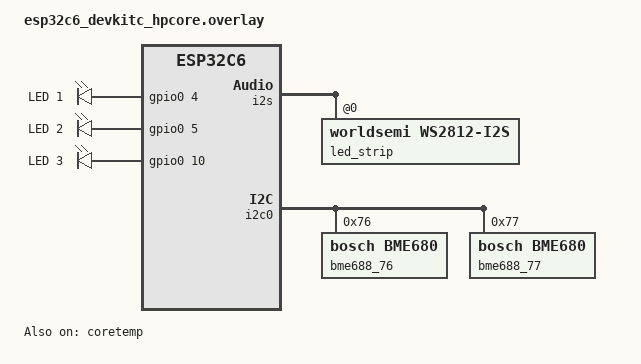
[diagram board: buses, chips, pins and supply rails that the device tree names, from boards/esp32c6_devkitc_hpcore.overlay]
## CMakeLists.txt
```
# SPDX-License-Identifier: Apache-2.0

cmake_minimum_required(VERSION 3.20.0)

# Wi-Fi credentials live in wifi.conf (git-ignored), see wifi.conf.example
if(EXISTS ${CMAKE_CURRENT_LIST_DIR}/wifi.conf)
  list(APPEND EXTRA_CONF_FILE ${CMAKE_CURRENT_LIST_DIR}/wifi.conf)
endif()

find_package(Zephyr REQUIRED HINTS $ENV{ZEPHYR_BASE})
project(web_app)

target_sources(app PRIVATE
  src/main.c
  src/wifi.c
  src/lan_scan.c
  src/sensors.c
  src/bme688.c
  src/nodes.c
  src/mqtt_pub.c
  src/ota.c
  src/bl_update.c
  src/web_api.c
)

# The ARP cache API (net_arp_foreach) is internal to the Ethernet L2
target_include_directories(app PRIVATE ${ZEPHYR_BASE}/subsys/net/l2/ethernet)

# Iterable section holding the HTTP resources of hub_http_service
zephyr_linker_sources(SECTIONS sections-rom.ld)
zephyr_linker_section(NAME http_resource_desc_hub_http_service
                      KVMA RAM_REGION GROUP RODATA_REGION)

# Public key that bl_update.c checks staged bootloaders against, taken from
# the key that signs the firmware (the private key never enters the image)
set(SIGNING_KEY ${CMAKE_CURRENT_LIST_DIR}/keys/hub-signing-key.pem)
set(PUBKEY_DER ${ZEPHYR_BINARY_DIR}/hub-signing-key.pub.der)
execute_process(
  COMMAND ${PYTHON_EXECUTABLE} ${ZEPHYR_MCUBOOT_MODULE_DIR}/scripts/imgtool.py
          getpub -k ${SIGNING_KEY} -e raw -o ${PUBKEY_DER}
  COMMAND_ERROR_IS_FATAL ANY
)
set_property(DIRECTORY APPEND PROPERTY CMAKE_CONFIGURE_DEPENDS ${SIGNING_KEY})
generate_inc_file_for_target(app ${PUBKEY_DER}
  ${ZEPHYR_BINARY_DIR}/include/generated/bl_pubkey.inc)
# MCUboot's image header and TLV definitions (bootutil/image.h)
target_link_libraries(app PRIVATE MCUBOOT_BOOTUTIL)

# Web page is gzipped at build time and served from flash
generate_inc_file_for_target(
  app
  src/static_web_resources/index.html
  ${ZEPHYR_BINARY_DIR}/include/generated/index.html.gz.inc
  --gzip
)
```

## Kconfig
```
mainmenu "Home Hub web app"

menu "Home Hub"

config APP_HTTP_PORT
	int "HTTP server port"
	default 80

config APP_SCAN_INTERVAL_MIN
	int "Automatic LAN scan interval (minutes)"
	default 10

config APP_MAX_DEVICES
	int "Maximum number of LAN devices remembered"
	default 64

config APP_MQTT_BROKER
	string "MQTT broker for the live web page"
	default "broker.hivemq.com"
	help
	  Public broker by default: anyone who knows the topic can read and
	  publish. Only sensor values are sent (see src/mqtt_pub.c).

config APP_MQTT_BROKER_PORT
	int "MQTT broker port (plain TCP)"
	default 1883

config APP_MQTT_TOPIC_PREFIX
	string "MQTT topic prefix"
	default "bbzorba/home-hub/v1"
	help
	  Must match the topic in the website's live page.

endmenu

source "Kconfig.zephyr"
```

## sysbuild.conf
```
# MCUboot as the second-stage bootloader (see BOOTLOADER.md):
# signed images, swap with automatic rollback, USB serial recovery.
SB_CONFIG_BOOTLOADER_MCUBOOT=y
SB_CONFIG_MCUBOOT_MODE_SWAP_USING_MOVE=y

# Only images signed with this key are accepted, over USB and over the air.
# The key is not in git: create it once with
#   imgtool keygen -k applications/web_app/keys/hub-signing-key.pem -t ecdsa-p256
# and back it up. Without it, no update can be installed.
SB_CONFIG_BOOT_SIGNATURE_TYPE_ECDSA_P256=y
SB_CONFIG_BOOT_SIGNATURE_KEY_FILE="${APP_DIR}/keys/hub-signing-key.pem"
```

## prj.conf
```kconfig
# --- System ---
# Extra heap on top of the Wi-Fi driver's 40 KB: it ran out when several
# browser tabs reconnected at once
CONFIG_HEAP_MEM_POOL_SIZE=32768
CONFIG_MAIN_STACK_SIZE=4096
# 4 KB: ota.c runs the bootloader check (ECDSA verify) in the work queue
CONFIG_SYSTEM_WORKQUEUE_STACK_SIZE=4096
CONFIG_LOG=y
CONFIG_ENTROPY_GENERATOR=y
# Last-resort recovery when Wi-Fi stays down (see wifi.c)
CONFIG_REBOOT=y
# CPU load on the dashboard (busy vs idle time)
CONFIG_THREAD_RUNTIME_STATS=y
CONFIG_ZVFS_OPEN_MAX=24
CONFIG_ZVFS_POLL_MAX=24

# --- Wi-Fi + IPv4 ---
CONFIG_WIFI=y
CONFIG_NETWORKING=y
CONFIG_NET_IPV4=y
CONFIG_NET_IPV6=n
CONFIG_NET_DHCPV4=y
CONFIG_NET_TCP=y
CONFIG_NET_UDP=y
CONFIG_NET_SOCKETS=y
CONFIG_NET_MGMT_EVENT_QUEUE_SIZE=16
CONFIG_ESP32_WIFI_STA_RECONNECT=y
CONFIG_NET_HOSTNAME_ENABLE=y
CONFIG_NET_HOSTNAME="home-hub"
CONFIG_NET_LOG=y

# Credentials come from wifi.conf (CONFIG_WIFI_CREDENTIALS_STATIC_SSID/_PASSWORD)
CONFIG_WIFI_CREDENTIALS=y
CONFIG_WIFI_CREDENTIALS_STATIC=y

# Raises L4 connected/disconnected events (associated + IPv4 address)
CONFIG_NET_CONNECTION_MANAGER=y

# Reverse DNS (device names); the server address comes from DHCP
CONFIG_DNS_RESOLVER=y
CONFIG_DNS_RESOLVER_MAX_NAME_LEN=64
# The HTTP server and the DNS resolver's socket service each need one
CONFIG_ZVFS_EVENTFD_MAX=4

# LAN scan sends one probe per host in batches; the ARP table has to hold
# a whole batch of pending requests plus the entries of live HTTP clients.
CONFIG_NET_ARP_TABLE_SIZE=32
CONFIG_NET_PKT_TX_COUNT=32
CONFIG_NET_PKT_RX_COUNT=16
CONFIG_NET_BUF_TX_COUNT=64
CONFIG_NET_BUF_RX_COUNT=64
CONFIG_NET_MAX_CONTEXTS=16
CONFIG_NET_MAX_CONN=16
CONFIG_NET_TCP_TIME_WAIT_DELAY=0

# --- HTTP server + JSON ---
CONFIG_HTTP_SERVER=y
CONFIG_HTTP_SERVER_MAX_CLIENTS=4
CONFIG_HTTP_SERVER_STACK_SIZE=4096
CONFIG_HTTP_SERVER_CLIENT_BUFFER_SIZE=1024
CONFIG_JSON_LIBRARY=y
CONFIG_JSON_LIBRARY_FP_SUPPORT=y

# --- MQTT (live page on bbzorba.github.io, see src/mqtt_pub.c) ---
CONFIG_MQTT_LIB=y
CONFIG_MQTT_KEEPALIVE=60

# --- OTA updates: MCUboot + mcumgr over UDP port 1337 (see BOOTLOADER.md) ---
CONFIG_FLASH=y
CONFIG_FLASH_MAP=y
CONFIG_STREAM_FLASH=y
CONFIG_IMG_MANAGER=y
CONFIG_MCUBOOT_IMG_MANAGER=y
CONFIG_MCUMGR=y
CONFIG_ZCBOR=y
CONFIG_MCUMGR_GRP_IMG=y
CONFIG_MCUMGR_GRP_OS=y
CONFIG_MCUMGR_TRANSPORT_UDP=y
CONFIG_MCUMGR_TRANSPORT_UDP_STACK_SIZE=4096
# Bootloader self-update (src/bl_update.c): SHA-256 + ECDSA P-256 check
CONFIG_MBEDTLS_ECP_C=y
CONFIG_MBEDTLS_ECDSA_C=y
CONFIG_MBEDTLS_ECP_DP_SECP256R1_ENABLED=y
CONFIG_MBEDTLS_ENABLE_HEAP=y
CONFIG_MBEDTLS_HEAP_SIZE=8192

# --- Sensors (on-die temperature, BME688) ---
CONFIG_SENSOR=y

# --- Status LED (onboard WS2812 on GPIO8) ---
CONFIG_LED_STRIP=y
```

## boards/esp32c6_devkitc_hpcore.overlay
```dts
/*
 * Board overlay for ESP32-C6-DevKitC HP Core
 *
 * GPIO8 onboard LED is a WS2812B RGB LED driven via I2S — NOT a plain GPIO.
 * It is configured here using the worldsemi,ws2812-i2s driver.
 *
 * led-strip → WS2812B on GPIO8  (onboard RGB LED, I2S driven)
 * led1      → GPIO4  (external plain LED, active-high)
 * led2      → GPIO5  (external plain LED, active-high)
 * led3      → GPIO10 (external plain LED, active-high)
 */

#include <zephyr/dt-bindings/led/led.h>

/ {
	aliases {
		led-strip = &led_strip;
		led1 = &led1;
		led2 = &led2;
		led3 = &led3;
	};

	leds {
		compatible = "gpio-leds";

		led1: led_1 {
			gpios = <&gpio0 4 GPIO_ACTIVE_HIGH>;
			label = "LED 1";
		};

		led2: led_2 {
			gpios = <&gpio0 5 GPIO_ACTIVE_HIGH>;
			label = "LED 2";
		};

		led3: led_3 {
			gpios = <&gpio0 10 GPIO_ACTIVE_HIGH>;
			label = "LED 3";
		};
	};
};

/* Override I2S pinctrl: only GPIO8 as data output (WS2812 doesn't need CLK/WS) */
&i2s_default {
	group1 {
		pinmux = <I2S_O_SD_GPIO8>;
	};
};

/* WS2812B RGB LED on GPIO8, driven via I2S + DMA */
i2s_led: &i2s {
	status = "okay";

	dmas = <&dma 3>;
	dma-names = "tx";

	led_strip: ws2812@0 {
		compatible = "worldsemi,ws2812-i2s";

		reg = <0>;
		chain-length = <1>;
		color-mapping = <LED_COLOR_ID_GREEN
				 LED_COLOR_ID_RED
				 LED_COLOR_ID_BLUE>;
		reset-delay = <500>;
	};
};

&dma {
	status = "okay";
};

/*
 * BME688 on I2C0: SDA GPIO6, SCL GPIO7 (board default pins, 400 kHz).
 * Breakouts use 0x76 (SDO to GND) or 0x77 (SDO to VCC); both are declared
 * and the app uses whichever one answers.
 */
&i2c0 {
	status = "okay";

	bme688_76: bme688@76 {
		compatible = "bosch,bme680";
		reg = <0x76>;
	};

	bme688_77: bme688@77 {
		compatible = "bosch,bme680";
		reg = <0x77>;
	};
};

/*
 * Run the CPU at 80 MHz instead of 160 MHz to save power. The hub is idle
 * almost all the time and 80 MHz is the lowest clock Wi-Fi supports.
 */
&cpu0 {
	clock-frequency = <DT_FREQ_M(80)>;
};

/* On-die temperature sensor (alias die-temp0) */
&coretemp {
	status = "okay";
};
```

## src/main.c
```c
/*
 * Home Hub - ESP32-C6 sensor node / server.
 *
 * Connects to the home Wi-Fi, serves a dashboard over HTTP and keeps a list
 * of the devices on the LAN. Runs 24/7.
 *
 * All periodic work hangs off one timer, so the CPU wakes once per tick:
 * every 10 s the hub and BME688 readings are taken together, and every
 * 60th tick (10 min) a LAN scan is started in the same wake-up.
 */

#include <zephyr/kernel.h>
#include <zephyr/logging/log.h>
#include <zephyr/drivers/led_strip.h>
#include <zephyr/net/http/server.h>

#include "app.h"

LOG_MODULE_REGISTER(main, LOG_LEVEL_INF);

/*
 * The onboard LED on ESP32-C6-DevKitC is a WS2812B RGB LED on GPIO8.
 * It is driven via I2S, not plain GPIO. Use the led_strip API.
 */
#define STRIP_NODE       DT_ALIAS(led_strip)
#define STRIP_NUM_PIXELS DT_PROP(STRIP_NODE, chain_length)

static const struct device *const strip = DEVICE_DT_GET(STRIP_NODE);
static struct led_rgb pixels[STRIP_NUM_PIXELS];

/* Low brightness: the WS2812 is very bright at full intensity */
static const struct led_rgb status_colors[] = {
	[STATUS_LED_CONNECTING] = { .r = 0x00, .g = 0x00, .b = 0x10 },
	[STATUS_LED_ONLINE]     = { .r = 0x00, .g = 0x08, .b = 0x00 },
	[STATUS_LED_SCANNING]   = { .r = 0x08, .g = 0x00, .b = 0x08 },
};

static K_TIMER_DEFINE(sample_timer, NULL, NULL);
static atomic_t next_scan_at;

void status_led_set(enum status_led state)
{
	if (!device_is_ready(strip)) {
		return;
	}
	pixels[0] = status_colors[state];
	led_strip_update_rgb(strip, pixels, STRIP_NUM_PIXELS);
}

uint32_t sampler_next_scan_at(void)
{
	return atomic_get(&next_scan_at);
}

int main(void)
{
	uint32_t tick = 0;
	uint32_t next_scan_tick = 0;

	LOG_INF("Home Hub starting");
	ota_log_boot();

	http_server_start();
	wifi_start();

	k_timer_start(&sample_timer, K_NO_WAIT, K_SECONDS(SAMPLE_PERIOD_S));

	for (;; tick++) {
		k_timer_status_sync(&sample_timer);

		sensors_sample();
		mqtt_pub_trigger();

		/* First scan on the first tick after joining Wi-Fi, then every
		 * SCAN_EVERY_TICKS. Manual scans don't move this schedule.
		 */
		if (wifi_is_online() && tick >= next_scan_tick && lan_scan_request()) {
			next_scan_tick = tick + SCAN_EVERY_TICKS;
		}
		atomic_set(&next_scan_at, k_uptime_seconds() +
			   (MAX(next_scan_tick, tick) - tick) * SAMPLE_PERIOD_S);
	}

	return 0;
}
```

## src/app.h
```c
/*
 * Home Hub - shared declarations between the app modules.
 */

#ifndef APP_H_
#define APP_H_

#include <stdbool.h>
#include <stdint.h>
#include <zephyr/net/net_ip.h>
#include <zephyr/net/net_if.h>

/* --- main.c: one 10 s sampler tick drives sensors and LAN scans --- */
#define SAMPLE_PERIOD_S  10
#define SCAN_EVERY_TICKS (CONFIG_APP_SCAN_INTERVAL_MIN * 60 / SAMPLE_PERIOD_S)

enum status_led {
	STATUS_LED_CONNECTING,  /* blue */
	STATUS_LED_ONLINE,      /* green */
	STATUS_LED_SCANNING,    /* purple */
};

void status_led_set(enum status_led state);
/* Uptime (s) of the next scheduled LAN scan */
uint32_t sampler_next_scan_at(void);

/* --- wifi.c: station mode via wifi_credentials, online state via conn_mgr --- */
int wifi_start(void);
bool wifi_is_online(void);
struct net_if *wifi_iface(void);

/* --- lan_scan.c: ARP sweep of the local /24 + reverse DNS names --- */
struct lan_device {
	struct in_addr addr;
	char ip[NET_IPV4_ADDR_LEN];
	char mac[18];
	char name[32];          /* from the router's DNS, "" if unknown */
	bool online;
	bool self;
	uint32_t first_seen;    /* uptime, seconds */
	uint32_t last_seen;     /* uptime, seconds */
};

struct lan_scan_info {
	bool running;
	uint32_t last_end;      /* uptime seconds, 0 = never */
	uint32_t duration_ms;
	uint32_t progress;      /* hosts probed in the running scan */
	uint32_t total;         /* hosts to probe in the running scan */
};

/* Returns false if a scan is already running. */
bool lan_scan_request(void);
/* Copies up to max devices into out, sorted by IP. Returns the count. */
int lan_scan_snapshot(struct lan_device *out, int max, struct lan_scan_info *info);

/* --- sensors.c: readings cached by the sampler tick --- */
struct readings {
	uint32_t at;            /* uptime seconds of the sample */
	bool chip_ok;
	double chip_temp_c;
	double cpu_load_pct;    /* CPU busy share since the previous tick */
	int env_state;          /* 0 ok, -ENODEV no sensor, -EAGAIN none yet */
	double temp_c;
	double humidity;
	double pressure_hpa;
};

void sensors_sample(void);
void sensors_get(struct readings *out);

/* --- nodes.c: reports POSTed by client nodes --- */
/* Parses one report (json is modified in place). 0 or -EINVAL. */
int nodes_report(char *json, size_t len);
/* Encodes all nodes as JSON into buf. 0 or a negative error. */
int nodes_encode(char *buf, size_t len);

/* --- ota.c: MCUboot image confirmation and firmware version --- */
/* Called when the hub is online; confirms a trial image. */
void ota_online(void);
void ota_log_boot(void);
const char *ota_version(void);
bool ota_confirmed(void);

/* --- bl_update.c: bootloader self-update from slot 1 --- */
/* Installs a signed bootloader staged in slot 1, if there is one. */
void bl_update_check(void);
/* "none", "installed <sha>", "rejected" or "failed, retrying" */
const char *bl_update_result(void);

/* --- mqtt_pub.c: readings to the MQTT broker for the live web page --- */
/* Called on each sampler tick; the publish happens in the MQTT thread. */
void mqtt_pub_trigger(void);

/* --- bme688.c: BME688 on I2C0 --- */
/* Fills the environment fields of r. 0 on success, -ENODEV if no sensor. */
int bme688_read(struct readings *r);

#endif /* APP_H_ */
```

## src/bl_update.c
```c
/*
 * Bootloader self-update (see BOOTLOADER.md, "Updating the bootloader").
 *
 * `make ota-bootloader` signs MCUboot's binary like an application image and
 * uploads it to slot 1 without marking it for test, so MCUboot leaves it
 * alone. Once this (confirmed) firmware is online it checks slot 1: a staged
 * image whose payload is an ESP bootloader (magic 0xE9) is verified (SHA-256
 * and ECDSA P-256 signature with the key that signs our firmware) and copied
 * to the boot partition at 0x0, where the ROM loads it from.
 *
 * The flash contents are the resume state: only 4 KB sectors that differ
 * from the staged image are erased and programmed, so repeating after an
 * interruption costs nothing, and an identical bootloader is never touched.
 * After a SHA-256 read-back of 0x0 matches, slot 1 is erased.
 */

#include <string.h>
#include <zephyr/kernel.h>
#include <zephyr/logging/log.h>
#include <zephyr/storage/flash_map.h>
#include <bootutil/image.h>
#include <mbedtls/sha256.h>
#include <mbedtls/ecdsa.h>

#include "app.h"

LOG_MODULE_REGISTER(bl_update, LOG_LEVEL_INF);

#define ESP_IMAGE_MAGIC 0xE9
#define SECTOR          4096
#define CHUNK           512

/* SubjectPublicKeyInfo (DER) of the signing key, generated by CMake */
static const uint8_t pubkey_der[] = {
#include "bl_pubkey.inc"
};

static uint8_t buf_a[CHUNK], buf_b[CHUNK];
static char result[24] = "none";

/* SHA-256 of len bytes of fa from off */
static int hash_area(const struct flash_area *fa, off_t off, size_t len, uint8_t out[32])
{
	mbedtls_sha256_context ctx;
	int ret = 0;

	mbedtls_sha256_init(&ctx);
	mbedtls_sha256_starts(&ctx, 0);
	while (len > 0 && ret == 0) {
		size_t n = MIN(len, CHUNK);

		ret = flash_area_read(fa, off, buf_a, n);
		mbedtls_sha256_update(&ctx, buf_a, n);
		off += n;
		len -= n;
	}
	mbedtls_sha256_finish(&ctx, out);
	mbedtls_sha256_free(&ctx);
	return ret;
}

static int verify_sig(const uint8_t hash[32], const uint8_t *sig, size_t sig_len)
{
	mbedtls_ecdsa_context ecdsa;
	int ret;

	mbedtls_ecdsa_init(&ecdsa);
	/* The uncompressed point is the last 65 bytes of the DER key */
	ret = mbedtls_ecp_group_load(&ecdsa.MBEDTLS_PRIVATE(grp), MBEDTLS_ECP_DP_SECP256R1);
	if (ret == 0) {
		ret = mbedtls_ecp_point_read_binary(&ecdsa.MBEDTLS_PRIVATE(grp),
						    &ecdsa.MBEDTLS_PRIVATE(Q),
						    pubkey_der + sizeof(pubkey_der) - 65, 65);
	}
	if (ret == 0) {
		ret = mbedtls_ecdsa_read_signature(&ecdsa, hash, 32, sig, sig_len);
	}
	mbedtls_ecdsa_free(&ecdsa);
	return ret;
}

/* Checks the staged image's SHA-256 and signature TLVs */
static int verify_staged(const struct flash_area *fa, const struct image_header *hdr)
{
	struct image_tlv_info info;
	struct image_tlv tlv;
	uint8_t hash[32], sig[80];
	bool hash_ok = false, sig_ok = false;
	off_t off = hdr->ih_hdr_size + hdr->ih_img_size + hdr->ih_protect_tlv_size;
	off_t end;

	if (hash_area(fa, 0, off, hash) ||
	    flash_area_read(fa, off, &info, sizeof(info)) ||
	    info.it_magic != IMAGE_TLV_INFO_MAGIC) {
		return -EINVAL;
	}
	end = off + info.it_tlv_tot;
	for (off += sizeof(info); off + sizeof(tlv) <= end; off += sizeof(tlv) + tlv.it_len) {
		if (flash_area_read(fa, off, &tlv, sizeof(tlv))) {
			return -EIO;
		}
		if (tlv.it_type == IMAGE_TLV_SHA256 && tlv.it_len == 32) {
			flash_area_read(fa, off + sizeof(tlv), sig, 32);
			hash_ok = memcmp(sig, hash, 32) == 0;
		} else if (tlv.it_type == IMAGE_TLV_ECDSA_SIG && tlv.it_len <= sizeof(sig)) {
			flash_area_read(fa, off + sizeof(tlv), sig, tlv.it_len);
			sig_ok = verify_sig(hash, sig, tlv.it_len) == 0;
		}
	}
	return hash_ok && sig_ok ? 0 : -EPERM;
}

/* Makes boot[0..len) equal to the staged payload, one differing sector at a time */
static int copy_payload(const struct flash_area *src, off_t src_off,
			const struct flash_area *dst, size_t len)
{
	for (off_t sec = 0; sec < len; sec += SECTOR) {
		size_t sec_len = MIN(SECTOR, len - sec);
		bool same = true;
		int ret;

		for (off_t o = 0; o < sec_len && same; o += CHUNK) {
			size_t n = MIN(CHUNK, sec_len - o);

			if (flash_area_read(src, src_off + sec + o, buf_a, n) ||
			    flash_area_read(dst, sec + o, buf_b, n)) {
				return -EIO;
			}
			same = memcmp(buf_a, buf_b, n) == 0;
		}
		if (same) {
			continue;
		}

		ret = flash_area_erase(dst, sec, SECTOR);
		for (off_t o = 0; o < sec_len && ret == 0; o += CHUNK) {
			size_t n = MIN(CHUNK, sec_len - o);

			ret = flash_area_read(src, src_off + sec + o, buf_a, n);
			if (ret == 0) {
				/* Writes are word-aligned; pad with erased bytes */
				memset(buf_a + n, 0xFF, ROUND_UP(n, 4) - n);
				ret = flash_area_write(dst, sec + o, buf_a, ROUND_UP(n, 4));
			}
		}
		if (ret) {
			return ret;
		}
		LOG_INF("Bootloader sector 0x%05lx written", (long)sec);
	}
	return 0;
}

void bl_update_check(void)
{
	const struct flash_area *slot, *boot;
	struct image_header hdr;
	uint8_t magic, want[32], got[32];
	int ret;

	if (flash_area_open(FIXED_PARTITION_ID(slot1_partition), &slot) ||
	    flash_area_open(FIXED_PARTITION_ID(boot_partition), &boot)) {
		return;
	}
	/* Nothing staged, or an application image: not ours */
	if (flash_area_read(slot, 0, &hdr, sizeof(hdr)) || hdr.ih_magic != IMAGE_MAGIC ||
	    flash_area_read(slot, hdr.ih_hdr_size, &magic, 1) || magic != ESP_IMAGE_MAGIC) {
		goto out;
	}
	if (hdr.ih_img_size > boot->fa_size || verify_staged(slot, &hdr)) {
		LOG_ERR("Staged bootloader rejected (bad size, hash or signature)");
		strcpy(result, "rejected");
		goto out;
	}

	LOG_INF("Installing staged bootloader (%u bytes)", hdr.ih_img_size);
	ret = copy_payload(slot, hdr.ih_hdr_size, boot, hdr.ih_img_size);
	if (ret == 0) {
		ret = hash_area(slot, hdr.ih_hdr_size, hdr.ih_img_size, want) ||
		      hash_area(boot, 0, hdr.ih_img_size, got) ||
		      memcmp(want, got, sizeof(want)) ? -EIO : 0;
	}
	if (ret) {
		/* Staging stays in slot 1, the next check tries again */
		LOG_ERR("Bootloader write failed (%d), will retry", ret);
		strcpy(result, "failed, retrying");
		goto out;
	}

	flash_area_erase(slot, 0, SECTOR);
	snprintk(result, sizeof(result), "installed %02X%02X%02X%02X", got[0], got[1], got[2],
		 got[3]);
	LOG_INF("Bootloader %s, verified", result);
out:
	flash_area_close(slot);
	flash_area_close(boot);
}

const char *bl_update_result(void)
{
	return result;
}
```

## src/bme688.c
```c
/*
 * BME688 environmental sensor on I2C0 (SDA GPIO6, SCL GPIO7).
 *
 * Zephyr's bosch,bme680 driver reads temperature, humidity and pressure
 * correctly on the BME688 (same chip ID and registers). Its gas resistance
 * is NOT valid on the BME688: the driver uses the BME680's run_gas bit, gas
 * registers (0x2A/0x2B) and formula, while the BME688 needs 0x20, 0x2C/0x2D
 * and a different formula. So gas is not read here.
 *
 * The overlay declares the sensor at both possible addresses (0x76 and
 * 0x77); whichever one answered at boot is used.
 */

#include <errno.h>
#include <zephyr/kernel.h>
#include <zephyr/device.h>
#include <zephyr/drivers/sensor.h>
#include <zephyr/logging/log.h>

#include "app.h"

LOG_MODULE_REGISTER(bme688, LOG_LEVEL_INF);

#define BME_DEV(node) DEVICE_DT_GET(node),
static const struct device *const candidates[] = {
	DT_FOREACH_STATUS_OKAY(bosch_bme680, BME_DEV)
};

static const struct device *find_sensor(void)
{
	static const struct device *dev;
	static bool searched;

	if (!searched) {
		searched = true;
		for (size_t i = 0; i < ARRAY_SIZE(candidates); i++) {
			if (device_is_ready(candidates[i])) {
				dev = candidates[i];
				LOG_INF("BME688 found: %s", dev->name);
				break;
			}
		}
		if (dev == NULL) {
			LOG_WRN("No BME688 on I2C0 (0x76/0x77). Check wiring, then reset");
		}
	}
	return dev;
}

int bme688_read(struct readings *r)
{
	const struct device *dev = find_sensor();
	struct sensor_value temp, hum, press;
	int ret;

	if (dev == NULL) {
		return -ENODEV;
	}

	ret = sensor_sample_fetch(dev);
	if (ret) {
		LOG_WRN("BME688 read failed (%d)", ret);
		return ret;
	}

	sensor_channel_get(dev, SENSOR_CHAN_AMBIENT_TEMP, &temp);
	sensor_channel_get(dev, SENSOR_CHAN_HUMIDITY, &hum);
	sensor_channel_get(dev, SENSOR_CHAN_PRESS, &press);

	r->temp_c = sensor_value_to_double(&temp);
	r->humidity = sensor_value_to_double(&hum);
	r->pressure_hpa = sensor_value_to_double(&press) * 10.0; /* driver reports kPa */
	return 0;
}
```

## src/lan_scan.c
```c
/*
 * LAN device discovery by ARP sweep, plus names by reverse DNS.
 *
 * Every host of the local /24 gets one tiny UDP datagram (discard port 9).
 * Sending it forces the stack to ARP for that address, and every host on
 * the LAN answers ARP even when it ignores ping. After each batch the ARP
 * table is read back; whatever resolved is online. Zephyr has no LAN
 * discovery API, so this sweep is the one piece written by hand.
 *
 * Names come from a PTR query to the DNS server we got over DHCP. Home
 * routers (FRITZ!Box, OpenWrt, most ISP boxes) answer these with the
 * hostname each device sent when it asked for its address.
 *
 * Devices that stop answering stay in the list marked offline, so the page
 * also shows which devices went away and when they were last seen.
 */

#include <stdio.h>
#include <stdlib.h>
#include <string.h>
#include <zephyr/kernel.h>
#include <zephyr/logging/log.h>
#include <zephyr/net/net_if.h>
#include <zephyr/net/socket.h>
#include <zephyr/net/dns_resolve.h>

#include "arp.h"
#include "app.h"

LOG_MODULE_REGISTER(lan_scan, LOG_LEVEL_INF);

#define BATCH_SIZE      16
/* Longer than the stack's 2 s ARP request timeout, so a batch's pending
 * entries are gone before the next batch needs table slots.
 */
#define BATCH_WAIT_MS   2100
#define PROBE_PORT      9
#define DNS_TIMEOUT_MS  1000

struct collect_ctx {
	struct net_if *iface;
	uint32_t net;
	uint32_t mask;
	uint32_t now;
};

static struct lan_device devices[CONFIG_APP_MAX_DEVICES];
static bool seen[CONFIG_APP_MAX_DEVICES];
static int device_count;
static struct lan_scan_info scan_info;

static K_MUTEX_DEFINE(lock);
static K_SEM_DEFINE(scan_sem, 0, 1);

/* Caller holds lock. */
static void upsert(const struct in_addr *ip, const uint8_t *mac, uint32_t now, bool self)
{
	struct lan_device *dev = NULL;
	int i;

	for (i = 0; i < device_count; i++) {
		if (devices[i].addr.s_addr == ip->s_addr) {
			dev = &devices[i];
			break;
		}
	}

	if (dev == NULL) {
		if (device_count == ARRAY_SIZE(devices)) {
			LOG_WRN("Device list full, ignoring new device");
			return;
		}
		i = device_count++;
		dev = &devices[i];
		dev->addr = *ip;
		net_addr_ntop(AF_INET, ip, dev->ip, sizeof(dev->ip));
		dev->first_seen = now;
		LOG_INF("New device %s", dev->ip);
	}

	snprintf(dev->mac, sizeof(dev->mac), "%02x:%02x:%02x:%02x:%02x:%02x", mac[0], mac[1],
		 mac[2], mac[3], mac[4], mac[5]);
	dev->last_seen = now;
	dev->self = self;
	seen[i] = true;
}

static void arp_collect_cb(struct arp_entry *entry, void *user_data)
{
	struct collect_ctx *ctx = user_data;
	uint32_t ip = ntohl(entry->ip.s_addr);

	if (entry->iface != ctx->iface || (ip & ctx->mask) != ctx->net) {
		return;
	}

	k_mutex_lock(&lock, K_FOREVER);
	upsert(&entry->ip, entry->eth.addr, ctx->now, false);
	k_mutex_unlock(&lock);
}

struct ptr_query {
	struct k_sem done;
	char name[32];
};

static void ptr_cb(enum dns_resolve_status status, struct dns_addrinfo *info, void *user_data)
{
	struct ptr_query *q = user_data;

	if (status == DNS_EAI_INPROGRESS && info != NULL) {
		/* Keep the host part only: "laptop.fritz.box" -> "laptop" */
		size_t len = strcspn(info->ai_canonname, ".");

		len = MIN(len, sizeof(q->name) - 1);
		memcpy(q->name, info->ai_canonname, len);
		q->name[len] = '\0';
		return;
	}
	k_sem_give(&q->done);
}

/* Reverse DNS for one address; leaves name empty if the server has none. */
static void lookup_name(const struct in_addr *addr, char *name, size_t len)
{
	const uint8_t *b = (const uint8_t *)&addr->s_addr;
	struct ptr_query q = { 0 };
	char query[32];

	k_sem_init(&q.done, 0, 1);
	snprintf(query, sizeof(query), "%u.%u.%u.%u.in-addr.arpa", b[3], b[2], b[1], b[0]);

	if (dns_resolve_name(dns_resolve_get_default(), query, DNS_QUERY_TYPE_PTR, NULL, ptr_cb,
			     &q, DNS_TIMEOUT_MS) == 0) {
		k_sem_take(&q.done, K_MSEC(DNS_TIMEOUT_MS + 500));
	}

	/* Routers answer unnamed hosts with a placeholder like "192-168-178-1" */
	snprintf(query, sizeof(query), "%u-%u-%u-%u", b[0], b[1], b[2], b[3]);
	if (strcmp(q.name, query) == 0) {
		q.name[0] = '\0';
	}
	strncpy(name, q.name, len - 1);
	name[len - 1] = '\0';
}

static void resolve_names(void)
{
	for (int i = 0; i < device_count; i++) {
		struct in_addr addr;
		char name[sizeof(devices[0].name)];

		if (!seen[i]) {
			continue;
		}

		k_mutex_lock(&lock, K_FOREVER);
		addr = devices[i].addr;
		k_mutex_unlock(&lock);

		lookup_name(&addr, name, sizeof(name));

		k_mutex_lock(&lock, K_FOREVER);
		if (name[0] != '\0') {
			strcpy(devices[i].name, name);
		}
		k_mutex_unlock(&lock);
	}
}

static void run_scan(void)
{
	struct net_if *iface = wifi_iface();
	struct collect_ctx ctx = { .iface = iface };
	struct in_addr *own;
	uint32_t self, hosts;
	int64_t start = k_uptime_get();
	int sock;

	own = iface ? net_if_ipv4_get_global_addr(iface, NET_ADDR_PREFERRED) : NULL;
	if (own == NULL || !wifi_is_online()) {
		LOG_WRN("Not online, skipping scan");
		return;
	}

	self = ntohl(own->s_addr);
	ctx.mask = ntohl(net_if_ipv4_get_netmask_by_addr(iface, own).s_addr);
	/* Never sweep more than one /24, even on bigger subnets */
	if (ctx.mask < 0xFFFFFF00) {
		ctx.mask = 0xFFFFFF00;
	}
	ctx.net = self & ctx.mask;
	hosts = ~ctx.mask - 1;

	sock = zsock_socket(AF_INET, SOCK_DGRAM, IPPROTO_UDP);
	if (sock < 0) {
		LOG_ERR("socket() failed (%d)", errno);
		return;
	}

	k_mutex_lock(&lock, K_FOREVER);
	memset(seen, 0, sizeof(seen));
	scan_info.running = true;
	scan_info.progress = 0;
	scan_info.total = hosts;
	k_mutex_unlock(&lock);

	status_led_set(STATUS_LED_SCANNING);
	LOG_INF("Scanning %u hosts", hosts);

	/* Drop stale entries so only hosts answering now count as online */
	net_arp_clear_cache(iface);

	for (uint32_t first = 1; first <= hosts; first += BATCH_SIZE) {
		uint32_t last = MIN(first + BATCH_SIZE - 1, hosts);

		for (uint32_t h = first; h <= last; h++) {
			struct sockaddr_in dst = {
				.sin_family = AF_INET,
				.sin_port = htons(PROBE_PORT),
				.sin_addr.s_addr = htonl(ctx.net | h),
			};

			if ((ctx.net | h) == self) {
				continue;
			}
			(void)zsock_sendto(sock, "", 1, 0, (struct sockaddr *)&dst, sizeof(dst));
		}

		k_msleep(BATCH_WAIT_MS);

		ctx.now = k_uptime_seconds();
		net_arp_foreach(arp_collect_cb, &ctx);

		k_mutex_lock(&lock, K_FOREVER);
		scan_info.progress = last;
		k_mutex_unlock(&lock);
	}

	zsock_close(sock);

	k_mutex_lock(&lock, K_FOREVER);
	upsert(own, net_if_get_link_addr(iface)->addr, k_uptime_seconds(), true);
	k_mutex_unlock(&lock);

	resolve_names();

	k_mutex_lock(&lock, K_FOREVER);
	for (int i = 0; i < device_count; i++) {
		devices[i].online = seen[i];
	}
	scan_info.running = false;
	scan_info.last_end = k_uptime_seconds();
	scan_info.duration_ms = (uint32_t)(k_uptime_get() - start);
	k_mutex_unlock(&lock);

	status_led_set(wifi_is_online() ? STATUS_LED_ONLINE : STATUS_LED_CONNECTING);
	LOG_INF("Scan done in %u ms, %d devices known", scan_info.duration_ms, device_count);
}

/* The sweep takes ~35 s, so it runs in its own thread; the sampler tick in
 * main.c (or the "Scan now" button) only wakes it.
 */
static void scan_thread(void *p1, void *p2, void *p3)
{
	ARG_UNUSED(p1);
	ARG_UNUSED(p2);
	ARG_UNUSED(p3);

	while (true) {
		k_sem_take(&scan_sem, K_FOREVER);
		run_scan();
	}
}

K_THREAD_DEFINE(lan_scan_tid, 2048, scan_thread, NULL, NULL, NULL,
		K_LOWEST_APPLICATION_THREAD_PRIO, 0, 0);

bool lan_scan_request(void)
{
	bool running;

	k_mutex_lock(&lock, K_FOREVER);
	running = scan_info.running;
	k_mutex_unlock(&lock);

	if (!running) {
		k_sem_give(&scan_sem);
	}
	return !running;
}

static int cmp_ip(const void *a, const void *b)
{
	uint32_t ia = ntohl(((const struct lan_device *)a)->addr.s_addr);
	uint32_t ib = ntohl(((const struct lan_device *)b)->addr.s_addr);

	return (ia > ib) - (ia < ib);
}

int lan_scan_snapshot(struct lan_device *out, int max, struct lan_scan_info *info)
{
	int n;

	k_mutex_lock(&lock, K_FOREVER);
	n = MIN(device_count, max);
	memcpy(out, devices, n * sizeof(*out));
	if (info != NULL) {
		*info = scan_info;
	}
	k_mutex_unlock(&lock);

	qsort(out, n, sizeof(*out), cmp_ip);
	return n;
}
```

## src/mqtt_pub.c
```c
/*
 * Publishes the hub's readings to an MQTT broker for the live page on
 * https://bbzorba.github.io/live (the page subscribes over WebSocket).
 *
 * Topics (all retained, so a new visitor gets the latest at once):
 *   <prefix>/state   JSON with hub, BME688 and node readings, every 10 s
 *   <prefix>/status  "online" while connected; the broker publishes the
 *                    last will "offline" if the hub drops off for longer
 *                    than 1.5x the keepalive
 *
 * Only sensor values are published. The LAN device list, IP/MAC addresses
 * and the Wi-Fi name stay on the hub's local page. The default broker is
 * public: anyone who knows the topic can read it, and could publish too.
 *
 * Publishing is triggered by the sampler tick in main.c, so it happens in
 * the same wake-up as the sensor reads.
 */

#include <stdio.h>
#include <string.h>
#include <zephyr/kernel.h>
#include <zephyr/logging/log.h>
#include <zephyr/data/json.h>
#include <zephyr/net/mqtt.h>
#include <zephyr/net/socket.h>
#include <zephyr/net/net_mgmt.h>
#include <zephyr/net/wifi_mgmt.h>
#include <zephyr/random/random.h>

#include "app.h"

LOG_MODULE_REGISTER(mqtt_pub, LOG_LEVEL_INF);

#define TOPIC_STATE   CONFIG_APP_MQTT_TOPIC_PREFIX "/state"
#define TOPIC_STATUS  CONFIG_APP_MQTT_TOPIC_PREFIX "/status"
#define RETRY_AFTER   K_SECONDS(30)
#define CONNACK_WAIT_MS 5000

struct hub_json {
	double chip_temp_c;
	double cpu_load_pct;
	uint32_t uptime_s;
	int32_t rssi;
};

struct env_json {
	bool ok;
	double temp_c;
	double humidity;
	double pressure_hpa;
};

static const struct json_obj_descr hub_descr[] = {
	JSON_OBJ_DESCR_PRIM(struct hub_json, chip_temp_c, JSON_TOK_DOUBLE_FP),
	JSON_OBJ_DESCR_PRIM(struct hub_json, cpu_load_pct, JSON_TOK_DOUBLE_FP),
	JSON_OBJ_DESCR_PRIM(struct hub_json, uptime_s, JSON_TOK_UINT),
	JSON_OBJ_DESCR_PRIM(struct hub_json, rssi, JSON_TOK_NUMBER),
};

static const struct json_obj_descr env_descr[] = {
	JSON_OBJ_DESCR_PRIM(struct env_json, ok, JSON_TOK_TRUE),
	JSON_OBJ_DESCR_PRIM(struct env_json, temp_c, JSON_TOK_DOUBLE_FP),
	JSON_OBJ_DESCR_PRIM(struct env_json, humidity, JSON_TOK_DOUBLE_FP),
	JSON_OBJ_DESCR_PRIM(struct env_json, pressure_hpa, JSON_TOK_DOUBLE_FP),
};

static struct mqtt_client client;
static struct sockaddr_storage broker;
static struct zsock_pollfd fds[1];
static uint8_t rx_buf[256];
static uint8_t tx_buf[512];
static char payload[4 * 1400 + 512];
static bool connected;

static K_SEM_DEFINE(publish_sem, 0, 1);

static struct mqtt_topic will_topic = {
	.topic = { .utf8 = (uint8_t *)TOPIC_STATUS, .size = sizeof(TOPIC_STATUS) - 1 },
	.qos = MQTT_QOS_0_AT_MOST_ONCE,
};
static struct mqtt_utf8 will_message = MQTT_UTF8_LITERAL("offline");

void mqtt_pub_trigger(void)
{
	k_sem_give(&publish_sem);
}

static void evt_handler(struct mqtt_client *c, const struct mqtt_evt *evt)
{
	switch (evt->type) {
	case MQTT_EVT_CONNACK:
		connected = evt->result == 0;
		if (!connected) {
			LOG_ERR("Broker refused connection (%d)", evt->result);
		}
		break;
	case MQTT_EVT_DISCONNECT:
		connected = false;
		break;
	default:
		break;
	}
}

static int publish(const char *topic, const char *data, size_t len)
{
	struct mqtt_publish_param p = {
		.message.topic.topic = { .utf8 = (uint8_t *)topic, .size = strlen(topic) },
		.message.topic.qos = MQTT_QOS_0_AT_MOST_ONCE,
		.message.payload = { .data = (uint8_t *)data, .len = len },
		.message_id = sys_rand16_get(),
		.retain_flag = 1,
	};

	return mqtt_publish(&client, &p);
}

static int resolve_broker(void)
{
	struct zsock_addrinfo hints = { .ai_family = AF_INET, .ai_socktype = SOCK_STREAM };
	struct zsock_addrinfo *res;
	char port[8];
	int ret;

	snprintf(port, sizeof(port), "%d", CONFIG_APP_MQTT_BROKER_PORT);
	ret = zsock_getaddrinfo(CONFIG_APP_MQTT_BROKER, port, &hints, &res);
	if (ret) {
		return -EHOSTUNREACH;
	}
	memcpy(&broker, res->ai_addr, res->ai_addrlen);
	zsock_freeaddrinfo(res);
	return 0;
}

static int broker_connect(void)
{
	static char client_id[24];
	int ret;

	ret = resolve_broker();
	if (ret) {
		LOG_WRN("Cannot resolve %s", CONFIG_APP_MQTT_BROKER);
		return ret;
	}

	mqtt_client_init(&client);
	snprintf(client_id, sizeof(client_id), "home-hub-%08x", sys_rand32_get());
	client.broker = &broker;
	client.evt_cb = evt_handler;
	client.client_id = (struct mqtt_utf8){ .utf8 = (uint8_t *)client_id,
					       .size = strlen(client_id) };
	client.protocol_version = MQTT_VERSION_3_1_1;
	client.will_topic = &will_topic;
	client.will_message = &will_message;
	client.will_retain = 1;
	client.rx_buf = rx_buf;
	client.rx_buf_size = sizeof(rx_buf);
	client.tx_buf = tx_buf;
	client.tx_buf_size = sizeof(tx_buf);
	client.transport.type = MQTT_TRANSPORT_NON_SECURE;

	ret = mqtt_connect(&client);
	if (ret) {
		LOG_WRN("mqtt_connect failed (%d)", ret);
		return ret;
	}

	fds[0].fd = client.transport.tcp.sock;
	fds[0].events = ZSOCK_POLLIN;
	if (zsock_poll(fds, 1, CONNACK_WAIT_MS) > 0) {
		mqtt_input(&client);
	}
	if (!connected) {
		mqtt_abort(&client);
		return -ECONNREFUSED;
	}

	LOG_INF("Connected to %s, publishing to %s", CONFIG_APP_MQTT_BROKER, TOPIC_STATE);
	return publish(TOPIC_STATUS, "online", 6);
}

static int publish_state(void)
{
	struct net_if *iface = wifi_iface();
	struct wifi_iface_status wst = { 0 };
	struct readings r;
	struct hub_json hub;
	struct env_json env;
	char hub_buf[160], env_buf[128];
	size_t len;
	int ret;

	sensors_get(&r);
	if (iface != NULL) {
		(void)net_mgmt(NET_REQUEST_WIFI_IFACE_STATUS, iface, &wst, sizeof(wst));
	}

	hub = (struct hub_json){
		.chip_temp_c = r.chip_temp_c,
		.cpu_load_pct = r.cpu_load_pct,
		.uptime_s = k_uptime_seconds(),
		.rssi = wst.rssi,
	};
	env = (struct env_json){
		.ok = r.env_state == 0,
		.temp_c = r.temp_c,
		.humidity = r.humidity,
		.pressure_hpa = r.pressure_hpa,
	};

	ret = json_obj_encode_buf(hub_descr, ARRAY_SIZE(hub_descr), &hub, hub_buf,
				  sizeof(hub_buf));
	ret = ret ?: json_obj_encode_buf(env_descr, ARRAY_SIZE(env_descr), &env, env_buf,
					 sizeof(env_buf));
	if (ret) {
		return ret;
	}

	/* {"hub":{...},"env":{...},"nodes":{"now":..,"nodes":[...]}} */
	len = snprintf(payload, sizeof(payload), "{\"hub\":%s,\"env\":%s,\"nodes\":", hub_buf,
		       env_buf);
	ret = nodes_encode(payload + len, sizeof(payload) - len - 1);
	if (ret) {
		return ret;
	}
	len += strlen(payload + len);
	payload[len++] = '}';
	payload[len] = '\0';

	return publish(TOPIC_STATE, payload, len);
}

static void mqtt_thread(void *p1, void *p2, void *p3)
{
	ARG_UNUSED(p1);
	ARG_UNUSED(p2);
	ARG_UNUSED(p3);

	while (true) {
		int ret;

		if (!connected) {
			/* Wait for a tick so we only try while there is work */
			k_sem_take(&publish_sem, K_FOREVER);
			if (!wifi_is_online() || broker_connect() != 0) {
				k_sleep(RETRY_AFTER);
				continue;
			}
		} else {
			int left = mqtt_keepalive_time_left(&client);

			ret = k_sem_take(&publish_sem, K_MSEC(MAX(left, 0)));
			if (ret == 0) {
				ret = publish_state();
				if (ret) {
					LOG_WRN("Publish failed (%d)", ret);
				}
			}
		}

		/* Handle PINGRESP/DISCONNECT, send PINGREQ when due */
		if (zsock_poll(fds, 1, 0) > 0) {
			if (fds[0].revents & (ZSOCK_POLLERR | ZSOCK_POLLHUP | ZSOCK_POLLNVAL)) {
				connected = false;
			} else if (mqtt_input(&client) != 0) {
				connected = false;
			}
		}
		if (connected) {
			ret = mqtt_live(&client);
			if (ret != 0 && ret != -EAGAIN) {
				connected = false;
			}
		}
		if (!connected) {
			LOG_WRN("Broker connection lost, reconnecting");
			mqtt_abort(&client);
		}
	}
}

K_THREAD_DEFINE(mqtt_tid, 3072, mqtt_thread, NULL, NULL, NULL,
		K_LOWEST_APPLICATION_THREAD_PRIO, 0, 0);
```

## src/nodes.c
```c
/*
 * Client nodes (i.MX 8M Plus today, more later) report their sensors to
 * the hub by POSTing JSON to /api/node every 10 s:
 *
 *   {"id":"imx8mpevk","model":"NXP FRDM-IMX8MPLUS",
 *    "sensors":[{"name":"CPU temperature","value":46.0,"unit":"°C"}, ...]}
 *
 * The hub keeps the latest report per node id. A node counts as online
 * while its last report is younger than ONLINE_WINDOW_S.
 */

#include <string.h>
#include <zephyr/kernel.h>
#include <zephyr/logging/log.h>
#include <zephyr/data/json.h>

#include "app.h"

LOG_MODULE_REGISTER(nodes, LOG_LEVEL_INF);

#define MAX_NODES        4
#define MAX_SENSORS      16
/* Three missed reports */
#define ONLINE_WINDOW_S  30

struct node_sensor {
	char name[24];
	double value;
	char unit[8];
};

struct node {
	char id[32];
	char model[40];
	uint32_t last;
	bool online;
	struct node_sensor sensors[MAX_SENSORS];
	size_t sensors_len;
};

struct nodes_json {
	uint32_t now;
	struct node nodes[MAX_NODES];
	size_t nodes_len;
};

static const struct json_obj_descr sensor_descr[] = {
	JSON_OBJ_DESCR_PRIM(struct node_sensor, name, JSON_TOK_STRING_BUF),
	JSON_OBJ_DESCR_PRIM(struct node_sensor, value, JSON_TOK_DOUBLE_FP),
	JSON_OBJ_DESCR_PRIM(struct node_sensor, unit, JSON_TOK_STRING_BUF),
};

/* What a node sends */
static const struct json_obj_descr report_descr[] = {
	JSON_OBJ_DESCR_PRIM(struct node, id, JSON_TOK_STRING_BUF),
	JSON_OBJ_DESCR_PRIM(struct node, model, JSON_TOK_STRING_BUF),
	JSON_OBJ_DESCR_OBJ_ARRAY(struct node, sensors, MAX_SENSORS, sensors_len, sensor_descr,
				 ARRAY_SIZE(sensor_descr)),
};

/* What the dashboard gets */
static const struct json_obj_descr node_descr[] = {
	JSON_OBJ_DESCR_PRIM(struct node, id, JSON_TOK_STRING_BUF),
	JSON_OBJ_DESCR_PRIM(struct node, model, JSON_TOK_STRING_BUF),
	JSON_OBJ_DESCR_PRIM(struct node, last, JSON_TOK_UINT),
	JSON_OBJ_DESCR_PRIM(struct node, online, JSON_TOK_TRUE),
	JSON_OBJ_DESCR_OBJ_ARRAY(struct node, sensors, MAX_SENSORS, sensors_len, sensor_descr,
				 ARRAY_SIZE(sensor_descr)),
};

static const struct json_obj_descr nodes_descr[] = {
	JSON_OBJ_DESCR_PRIM(struct nodes_json, now, JSON_TOK_UINT),
	JSON_OBJ_DESCR_OBJ_ARRAY(struct nodes_json, nodes, MAX_NODES, nodes_len, node_descr,
				 ARRAY_SIZE(node_descr)),
};

static struct nodes_json table;
static struct node incoming;
static K_MUTEX_DEFINE(lock);

int nodes_report(char *json, size_t len)
{
	struct node *slot = NULL;
	int ret;

	memset(&incoming, 0, sizeof(incoming));
	ret = json_obj_parse(json, len, report_descr, ARRAY_SIZE(report_descr), &incoming);
	if (ret < 0 || !(ret & BIT(0)) || incoming.id[0] == '\0') {
		LOG_WRN("Bad node report (%d)", ret);
		return -EINVAL;
	}

	incoming.last = k_uptime_seconds();

	k_mutex_lock(&lock, K_FOREVER);
	for (size_t i = 0; i < table.nodes_len; i++) {
		if (strcmp(table.nodes[i].id, incoming.id) == 0) {
			slot = &table.nodes[i];
			break;
		}
	}
	if (slot == NULL) {
		if (table.nodes_len < MAX_NODES) {
			slot = &table.nodes[table.nodes_len++];
		} else {
			/* Full: replace the node silent for longest */
			slot = &table.nodes[0];
			for (size_t i = 1; i < MAX_NODES; i++) {
				if (table.nodes[i].last < slot->last) {
					slot = &table.nodes[i];
				}
			}
		}
		LOG_INF("New node \"%s\" (%s)", incoming.id, incoming.model);
	}
	*slot = incoming;
	k_mutex_unlock(&lock);

	return 0;
}

int nodes_encode(char *buf, size_t len)
{
	int ret;

	k_mutex_lock(&lock, K_FOREVER);
	table.now = k_uptime_seconds();
	for (size_t i = 0; i < table.nodes_len; i++) {
		table.nodes[i].online = table.now - table.nodes[i].last <= ONLINE_WINDOW_S;
	}
	ret = json_obj_encode_buf(nodes_descr, ARRAY_SIZE(nodes_descr), &table, buf, len);
	k_mutex_unlock(&lock);

	return ret;
}
```

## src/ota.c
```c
/*
 * Firmware updates (see BOOTLOADER.md).
 *
 * New images arrive over Wi-Fi through Zephyr's mcumgr UDP transport
 * (port 1337), which needs no code here. MCUboot swaps an uploaded image in
 * for a trial boot; it is kept only if this firmware confirms it.
 *
 * We confirm once the hub is back online (Wi-Fi + IPv4 address): that proves
 * the new image can still receive the next update. If it never gets online,
 * the Wi-Fi recovery in wifi.c reboots after 5 minutes and MCUboot restores
 * the previous image.
 *
 * A confirmed firmware then installs a bootloader staged in slot 1, if
 * there is one (bl_update.c).
 */

#include <zephyr/kernel.h>
#include <zephyr/logging/log.h>
#include <zephyr/dfu/mcuboot.h>
#include <app_version.h>

#include "app.h"

LOG_MODULE_REGISTER(ota, LOG_LEVEL_INF);

static void confirm_work_handler(struct k_work *work)
{
	int ret;

	ARG_UNUSED(work);

	if (!boot_is_img_confirmed()) {
		ret = boot_write_img_confirmed();
		if (ret) {
			LOG_ERR("Could not confirm firmware %s (%d)", APP_VERSION_STRING, ret);
			return;
		}
		LOG_INF("Firmware %s confirmed, it stays installed", APP_VERSION_STRING);
	}

	/* Only a confirmed firmware touches the bootloader */
	bl_update_check();
}

/* Flash writes don't belong in the network event callback */
static K_WORK_DEFINE(confirm_work, confirm_work_handler);

void ota_online(void)
{
	k_work_submit(&confirm_work);
}

void ota_log_boot(void)
{
	LOG_INF("Firmware %s (%s)", APP_VERSION_STRING,
		boot_is_img_confirmed() ? "confirmed" : "trial boot, confirms when online");
}

const char *ota_version(void)
{
	return APP_VERSION_STRING;
}

bool ota_confirmed(void)
{
	return boot_is_img_confirmed();
}
```

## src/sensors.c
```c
/*
 * Sensor readings, taken together on each sampler tick and cached so HTTP
 * requests never wait on a sensor. Hub: ESP32-C6 die temperature.
 * Environment: BME688 (bme688.c).
 */

#include <errno.h>
#include <zephyr/kernel.h>
#include <zephyr/device.h>
#include <zephyr/drivers/sensor.h>

#include "app.h"

static const struct device *const die_temp = DEVICE_DT_GET(DT_ALIAS(die_temp0));

static struct readings latest = { .env_state = -EAGAIN };
static K_MUTEX_DEFINE(lock);

/* Busy share of the CPU since the last call, from the kernel's thread
 * usage accounting (CONFIG_SCHED_THREAD_USAGE_ALL).
 */
static double cpu_load_pct(void)
{
	static uint64_t last_all, last_busy;
	k_thread_runtime_stats_t s;
	double pct = 0.0;

	if (k_thread_runtime_stats_all_get(&s) == 0) {
		uint64_t all = s.execution_cycles - last_all;
		uint64_t busy = s.total_cycles - last_busy;

		if (all > 0) {
			pct = 100.0 * (double)busy / (double)all;
		}
		last_all = s.execution_cycles;
		last_busy = s.total_cycles;
	}
	return pct;
}

void sensors_sample(void)
{
	struct readings r = { .at = k_uptime_seconds() };
	struct sensor_value val;

	r.cpu_load_pct = cpu_load_pct();

	r.chip_ok = device_is_ready(die_temp) && sensor_sample_fetch(die_temp) == 0 &&
		    sensor_channel_get(die_temp, SENSOR_CHAN_DIE_TEMP, &val) == 0;
	if (r.chip_ok) {
		r.chip_temp_c = sensor_value_to_double(&val);
	}

	r.env_state = bme688_read(&r);

	k_mutex_lock(&lock, K_FOREVER);
	latest = r;
	k_mutex_unlock(&lock);
}

void sensors_get(struct readings *out)
{
	k_mutex_lock(&lock, K_FOREVER);
	*out = latest;
	k_mutex_unlock(&lock);
}
```

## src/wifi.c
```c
/*
 * Wi-Fi station.
 *
 * SSID and password come from wifi.conf through Zephyr's wifi_credentials
 * library (CONFIG_WIFI_CREDENTIALS_STATIC); a CONNECT_STORED request joins
 * the network. The ESP32 driver then runs DHCP and reconnects after drops,
 * and the connection manager reports when we are online (associated and
 * holding an IPv4 address).
 *
 * After a power-on reset the driver often gets stuck in "connecting": the
 * first attempt never ends, every further request is refused with
 * -EALREADY, and a disconnect request doesn't clear it either; a software
 * reset always does. A genuine failed attempt (no AP, wrong password) ends
 * with a disconnect event, so "connecting with no disconnect event for
 * STUCK_REBOOT_S" means stuck, and the hub reboots at once. While offline we
 * re-request every RETRY_AFTER, and after OFFLINE_REBOOT_S without a
 * connection the hub reboots anyway.
 */

#include <zephyr/kernel.h>
#include <zephyr/logging/log.h>
#include <zephyr/logging/log_ctrl.h>
#include <zephyr/sys/reboot.h>
#include <zephyr/net/net_if.h>
#include <zephyr/net/net_mgmt.h>
#include <zephyr/net/conn_mgr_monitor.h>
#include <zephyr/net/wifi_mgmt.h>
#include <zephyr/net/dhcpv4.h>

#include "app.h"

LOG_MODULE_REGISTER(wifi, LOG_LEVEL_INF);

#define RETRY_AFTER      K_SECONDS(30)
#define STUCK_REBOOT_S   60
#define OFFLINE_REBOOT_S (5 * 60)

static struct net_if *sta_iface;
static struct net_mgmt_event_callback l4_cb;
static struct net_mgmt_event_callback wifi_cb;
static struct k_work_delayable connect_work;
static atomic_t online;
static uint32_t offline_since;
static uint32_t last_attempt_end;

static void reboot(const char *why, const struct wifi_iface_status *st)
{
	LOG_ERR("%s (wifi %s, dhcp %s), rebooting", why, wifi_state_txt(st->state),
		net_dhcpv4_state_name(sta_iface->config.dhcpv4.state));
	LOG_PANIC(); /* flush the deferred log before the reset */
	sys_reboot(SYS_REBOOT_COLD);
}

static void connect_work_handler(struct k_work *work)
{
	struct wifi_iface_status st = { 0 };
	int ret;

	ARG_UNUSED(work);

	if (atomic_get(&online)) {
		return;
	}

	(void)net_mgmt(NET_REQUEST_WIFI_IFACE_STATUS, sta_iface, &st, sizeof(st));
	if (k_uptime_seconds() - offline_since >= OFFLINE_REBOOT_S) {
		reboot("Offline for 5 min", &st);
	}
	/* The ESP32 driver reports "connecting" as SCANNING */
	if (st.state == WIFI_STATE_SCANNING &&
	    k_uptime_seconds() - MAX(offline_since, last_attempt_end) >= STUCK_REBOOT_S) {
		reboot("Driver stuck connecting", &st);
	}

	LOG_INF("Connecting to \"%s\"", CONFIG_WIFI_CREDENTIALS_STATIC_SSID);
	ret = net_mgmt(NET_REQUEST_WIFI_CONNECT_STORED, sta_iface, NULL, 0);
	if (ret && ret != -EALREADY) {
		LOG_WRN("Connect request failed (%d)", ret);
	}
	k_work_reschedule(&connect_work, RETRY_AFTER);
}

static void l4_event_handler(struct net_mgmt_event_callback *cb, uint64_t event,
			     struct net_if *iface)
{
	char addr[NET_IPV4_ADDR_LEN] = "?";
	struct in_addr *ip;

	ARG_UNUSED(cb);

	if (event == NET_EVENT_L4_CONNECTED) {
		ip = net_if_ipv4_get_global_addr(sta_iface, NET_ADDR_PREFERRED);
		if (ip != NULL) {
			net_addr_ntop(AF_INET, ip, addr, sizeof(addr));
		}
		atomic_set(&online, 1);
		status_led_set(STATUS_LED_ONLINE);
		LOG_INF("Online: http://%s/", addr);
		ota_online();
	} else {
		atomic_set(&online, 0);
		status_led_set(STATUS_LED_CONNECTING);
		LOG_WRN("Offline, driver is reconnecting");
		offline_since = k_uptime_seconds();
		k_work_reschedule(&connect_work, RETRY_AFTER);
	}
}

/* Every attempt of the driver that fails ends with a disconnect event */
static void wifi_event_handler(struct net_mgmt_event_callback *cb, uint64_t event,
			       struct net_if *iface)
{
	ARG_UNUSED(cb);
	ARG_UNUSED(event);
	ARG_UNUSED(iface);

	last_attempt_end = k_uptime_seconds();
}

int wifi_start(void)
{
	sta_iface = net_if_get_first_wifi();
	if (sta_iface == NULL) {
		LOG_ERR("No Wi-Fi interface");
		return -ENODEV;
	}

	net_mgmt_init_event_callback(&l4_cb, l4_event_handler,
				     NET_EVENT_L4_CONNECTED | NET_EVENT_L4_DISCONNECTED);
	net_mgmt_add_event_callback(&l4_cb);
	net_mgmt_init_event_callback(&wifi_cb, wifi_event_handler,
				     NET_EVENT_WIFI_DISCONNECT_RESULT);
	net_mgmt_add_event_callback(&wifi_cb);

	status_led_set(STATUS_LED_CONNECTING);
	k_work_init_delayable(&connect_work, connect_work_handler);
	k_work_schedule(&connect_work, K_NO_WAIT);
	return 0;
}

bool wifi_is_online(void)
{
	return atomic_get(&online) != 0;
}

struct net_if *wifi_iface(void)
{
	return sta_iface;
}
```
